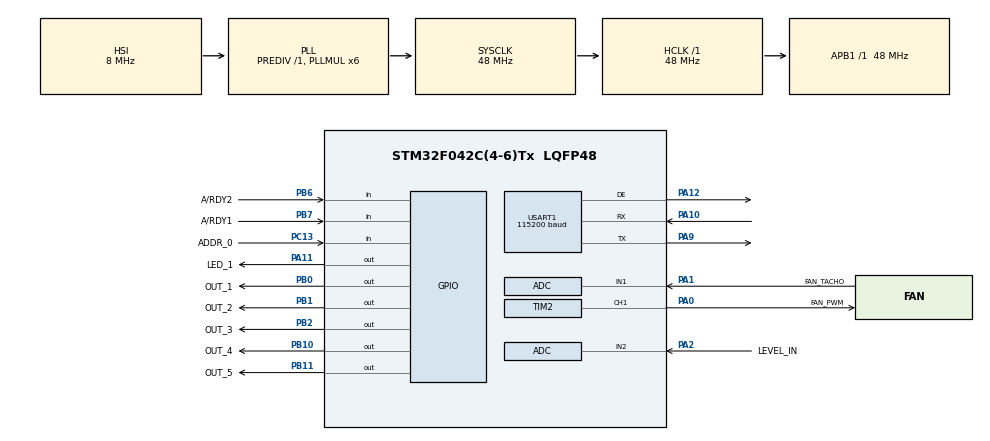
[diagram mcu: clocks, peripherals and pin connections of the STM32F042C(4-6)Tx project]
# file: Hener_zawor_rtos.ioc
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Mcu.Family=STM32F0
Mcu.Name=STM32F042C(4-6)Tx
Mcu.Package=LQFP48
NVIC.TIM17_IRQn=true\:0\:0\:false\:false\:true\:false\:true
NVIC.TimeBase=TIM17_IRQn
NVIC.TimeBaseIP=TIM17
NVIC.USART1_IRQn=true\:0\:0\:false\:false\:true\:true\:true
PA0.GPIO_Label=FAN_PWM
PA0.Signal=S_TIM2_CH1_ETR
PA1.GPIO_Label=FAN_TACHO
PA1.Mode=IN1
PA1.Signal=ADC_IN1
PA10.Mode=Asynchronous
PA10.Signal=USART1_RX
PA11.GPIO_Label=LED_1
PA11.Signal=GPIO_Output
PA12.Mode=Hardware Flow Control (RS485)
PA12.Signal=USART1_DE
PA13.Mode=Serial_Wire
PA13.Signal=SYS_SWDIO
PA14.Mode=Serial_Wire
PA14.Signal=SYS_SWCLK
PA2.GPIO_Label=LEVEL_IN
PA2.Mode=IN2
PA2.Signal=ADC_IN2
PA9.Mode=Asynchronous
PA9.Signal=USART1_TX
PB0.GPIO_Label=OUT_1
PB0.GPIO_PuPd=GPIO_PULLDOWN
PB0.Signal=GPIO_Output
PB1.GPIO_Label=OUT_2
PB1.GPIO_PuPd=GPIO_PULLDOWN
PB1.Signal=GPIO_Output
PB10.GPIO_Label=OUT_4
PB10.GPIO_PuPd=GPIO_PULLDOWN
PB10.Signal=GPIO_Output
PB11.GPIO_Label=OUT_5
PB11.GPIO_PuPd=GPIO_PULLDOWN
PB11.Signal=GPIO_Output
PB2.GPIO_Label=OUT_3
PB2.GPIO_PuPd=GPIO_PULLDOWN
PB2.Signal=GPIO_Output
PB6.GPIO_Label=A/RDY2
PB6.Signal=GPIO_Input
PB7.GPIO_Label=A/RDY1
PB7.Signal=GPIO_Input
PC13.GPIO_Label=ADDR_0
PC13.GPIO_PuPd=GPIO_PULLDOWN
PC13.Signal=GPIO_Input
PC13.Stacked=true
PC14OSC32_IN.GPIO_Label=ADDR_1
PC14OSC32_IN.GPIO_PuPd=GPIO_PULLDOWN
PC14OSC32_IN.Signal=GPIO_Input
PC15OSC32_OUT.GPIO_Label=ADDR_2
PC15OSC32_OUT.GPIO_PuPd=GPIO_PULLDOWN
PC15OSC32_OUT.Signal=GPIO_Input
ProjectManager.HeapSize=0x200
ProjectManager.StackSize=0x400
ProjectManager.TargetToolchain=STM32CubeIDE
RCC.AHBFreq_Value=48000000
RCC.APB1Freq_Value=48000000
RCC.APB1TimFreq_Value=48000000
RCC.HCLKFreq_Value=48000000
RCC.PLLMUL=RCC_PLL_MUL6
RCC.SYSCLKFreq_VALUE=48000000
RCC.SYSCLKSource=RCC_SYSCLKSOURCE_PLLCLK
SH.S_TIM2_CH1_ETR.0=TIM2_CH1,PWM Generation1 CH1
TIM2.Channel-PWM\ Generation1\ CH1=TIM_CHANNEL_1
USART1.BaudRate=115200
USART1.UART_DEAssertionTime=1
USART1.UART_DEDeassertionTime=1
USART1.VirtualMode-Asynchronous=VM_ASYNC
USART1.VirtualMode-Hardware\ Flow\ Control\ (RS485)=VM_ASYNC
VP_SYS_VS_tim17.Mode=TIM17
VP_TIM2_VS_ClockSourceINT.Mode=Internal
board=custom

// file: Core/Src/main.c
/* USER CODE BEGIN Header */
/**
  ******************************************************************************
  * @file           : main.c
  * @brief          : Main program body
  ******************************************************************************
  * @attention
  *
  * <h2><center>&copy; Copyright (c) 2020 STMicroelectronics.
  * All rights reserved.</center></h2>
  *
  * This software component is licensed by ST under BSD 3-Clause license,
  * the "License"; You may not use this file except in compliance with the
  * License. You may obtain a copy of the License at:
  *                        opensource.org/licenses/BSD-3-Clause
  *
  ******************************************************************************
  */
/* USER CODE END Header */
#include "main.h"
#include "adc.h"
#include "tim.h"
#include "usart.h"
#include "gpio.h"

/* USER CODE BEGIN Includes */
#include <string.h>

/* USER CODE END Includes */

/* USER CODE BEGIN PTD */

/* USER CODE BEGIN PV */

/* USER CODE END PTD */

/* USER CODE BEGIN PV */

/* USER CODE END PTD */

/* Private define ------------------------------------------------------------*/
/* USER CODE BEGIN PD */
/* USER CODE END PD */

/* Private macro -------------------------------------------------------------*/
/* USER CODE BEGIN PM */

/* USER CODE END PM */

/* Private variables ---------------------------------------------------------*/

/* USER CODE BEGIN PV */

/* USER CODE END PTD */

/* Private define ------------------------------------------------------------*/
/* USER CODE BEGIN PD */
/* USER CODE END PD */

/* Private macro -------------------------------------------------------------*/
/* USER CODE BEGIN PM */

/* USER CODE END PM */

/* Private variables ---------------------------------------------------------*/

/* USER CODE BEGIN PV */

/* USER CODE END PTD */

/* Private define ------------------------------------------------------------*/
/* USER CODE BEGIN PD */
/* USER CODE END PD */

/* Private macro -------------------------------------------------------------*/
/* USER CODE BEGIN PM */

/* USER CODE END PM */

/* Private variables ---------------------------------------------------------*/

/* USER CODE BEGIN PV */

/* USER CODE END PTD */

/* Private define ------------------------------------------------------------*/
/* USER CODE BEGIN PD */
/* USER CODE END PD */

/* Private macro -------------------------------------------------------------*/
/* USER CODE BEGIN PM */

/* USER CODE END PM */

/* Private variables ---------------------------------------------------------*/

/* USER CODE BEGIN PV */

/* USER CODE END PTD */

/* Private define ------------------------------------------------------------*/
/* USER CODE BEGIN PD */
/* USER CODE END PD */

/* Private macro -------------------------------------------------------------*/
/* USER CODE BEGIN PM */

/* USER CODE END PM */

/* Private variables ---------------------------------------------------------*/

/* USER CODE BEGIN PV */

/* USER CODE END PTD */

/* Private define ------------------------------------------------------------*/
/* USER CODE BEGIN PD */
/* USER CODE END PD */

/* Private macro -------------------------------------------------------------*/
/* USER CODE BEGIN PM */

/* USER CODE END PM */

/* Private variables ---------------------------------------------------------*/

/* USER CODE BEGIN PV */

/* USER CODE END PTD */

/* Private define ------------------------------------------------------------*/
/* USER CODE BEGIN PD */
/* USER CODE END PD */

/* Private macro -------------------------------------------------------------*/
/* USER CODE BEGIN PM */

/* USER CODE END PM */

/* Private variables ---------------------------------------------------------*/

/* USER CODE BEGIN PV */

/* USER CODE END PTD */

/* Private define ------------------------------------------------------------*/
/* USER CODE BEGIN PD */
/* USER CODE END PD */

/* Private macro -------------------------------------------------------------*/
/* USER CODE BEGIN PM */

/* USER CODE END PM */

/* Private variables ---------------------------------------------------------*/

/* USER CODE BEGIN PV */

/* USER CODE END PTD */

/* Private define ------------------------------------------------------------*/
/* USER CODE BEGIN PD */
/* USER CODE END PD */

/* Private macro -------------------------------------------------------------*/
/* USER CODE BEGIN PM */

/* USER CODE END PM */

/* Private variables ---------------------------------------------------------*/

/* USER CODE BEGIN PV */

/* USER CODE END PTD */

/* Private define ------------------------------------------------------------*/
/* USER CODE BEGIN PD */
/* USER CODE END PD */

/* Private macro -------------------------------------------------------------*/
/* USER CODE BEGIN PM */

/* USER CODE END PM */

/* Private variables ---------------------------------------------------------*/

/* USER CODE BEGIN PV */

/* USER CODE END PTD */

/* Private define ------------------------------------------------------------*/
/* USER CODE BEGIN PD */
/* USER CODE END PD */

/* Private macro -------------------------------------------------------------*/
/* USER CODE BEGIN PM */

/* USER CODE END PM */

/* Private variables ---------------------------------------------------------*/

/* USER CODE BEGIN PV */

/* USER CODE END PTD */

/* Private define ------------------------------------------------------------*/
/* USER CODE BEGIN PD */
/* USER CODE END PD */

/* Private macro -------------------------------------------------------------*/
/* USER CODE BEGIN PM */

/* USER CODE END PM */

/* Private variables ---------------------------------------------------------*/

/* USER CODE BEGIN PV */

/* USER CODE END PTD */

/* Private define ------------------------------------------------------------*/
/* USER CODE BEGIN PD */
/* USER CODE END PD */

/* Private macro -------------------------------------------------------------*/
/* USER CODE BEGIN PM */

/* USER CODE END PM */

/* Private variables ---------------------------------------------------------*/

/* USER CODE BEGIN PV */

/* USER CODE END PTD */

/* Private define ------------------------------------------------------------*/
/* USER CODE BEGIN PD */
/* USER CODE END PD */

/* Private macro -------------------------------------------------------------*/
/* USER CODE BEGIN PM */

/* USER CODE END PM */

/* Private variables ---------------------------------------------------------*/

/* USER CODE BEGIN PV */

/* USER CODE END PTD */

/* Private define ------------------------------------------------------------*/
/* USER CODE BEGIN PD */
/* USER CODE END PD */

/* Private macro -------------------------------------------------------------*/
/* USER CODE BEGIN PM */

/* USER CODE END PM */

/* Private variables ---------------------------------------------------------*/

/* USER CODE BEGIN PV */

/* USER CODE END PTD */

/* Private define ------------------------------------------------------------*/
/* USER CODE BEGIN PD */
/* USER CODE END PD */

/* Private macro -------------------------------------------------------------*/
/* USER CODE BEGIN PM */

/* USER CODE END PM */

/* Private variables ---------------------------------------------------------*/

/* USER CODE BEGIN PV */

/* USER CODE END PTD */

/* Private define ------------------------------------------------------------*/
/* USER CODE BEGIN PD */
/* USER CODE END PD */

/* Private macro -------------------------------------------------------------*/
/* USER CODE BEGIN PM */

/* USER CODE END PM */

/* Private variables ---------------------------------------------------------*/

/* USER CODE BEGIN PV */

/* USER CODE END PTD */

/* Private define ------------------------------------------------------------*/
/* USER CODE BEGIN PD */
/* USER CODE END PD */

/* Private macro -------------------------------------------------------------*/
/* USER CODE BEGIN PM */

/* USER CODE END PM */

/* Private variables ---------------------------------------------------------*/

/* USER CODE BEGIN PV */

/* USER CODE END PTD */

/* Private define ------------------------------------------------------------*/
/* USER CODE BEGIN PD */
/* USER CODE END PD */

/* Private macro -------------------------------------------------------------*/
/* USER CODE BEGIN PM */

/* USER CODE END PM */

/* Private variables ---------------------------------------------------------*/

/* USER CODE BEGIN PV */

/* USER CODE END PTD */

/* Private define ------------------------------------------------------------*/
/* USER CODE BEGIN PD */
/* USER CODE END PD */

/* Private macro -------------------------------------------------------------*/
/* USER CODE BEGIN PM */

/* USER CODE END PM */

/* Private variables ---------------------------------------------------------*/

/* USER CODE BEGIN PV */

/* USER CODE END PTD */

/* Private define ------------------------------------------------------------*/
/* USER CODE BEGIN PD */
/* USER CODE END PD */

/* Private macro -------------------------------------------------------------*/
/* USER CODE BEGIN PM */

/* USER CODE END PM */

/* Private variables ---------------------------------------------------------*/

/* USER CODE BEGIN PV */

/* USER CODE END PTD */

/* Private define ------------------------------------------------------------*/
/* USER CODE BEGIN PD */
/* USER CODE END PD */

/* Private macro -------------------------------------------------------------*/
/* USER CODE BEGIN PM */

/* USER CODE END PM */

/* Private variables ---------------------------------------------------------*/

/* USER CODE BEGIN PV */

/* USER CODE END PTD */

/* Private define ------------------------------------------------------------*/
/* USER CODE BEGIN PD */
/* USER CODE END PD */

/* Private macro -------------------------------------------------------------*/
/* USER CODE BEGIN PM */

/* USER CODE END PM */

/* Private variables ---------------------------------------------------------*/

/* USER CODE BEGIN PV */
uint8_t Received[10];

/* USER CODE END PTD */

/* Private define ------------------------------------------------------------*/
/* USER CODE BEGIN PD */
/* USER CODE END PD */

/* Private macro -------------------------------------------------------------*/
/* USER CODE BEGIN PM */

/* USER CODE END PM */

/* Private variables ---------------------------------------------------------*/

/* USER CODE BEGIN PV */

/* USER CODE END PTD */

/* Private define ------------------------------------------------------------*/
/* USER CODE BEGIN PD */
/* USER CODE END PD */

/* Private macro -------------------------------------------------------------*/
/* USER CODE BEGIN PM */

/* USER CODE END PM */

/* Private variables ---------------------------------------------------------*/

/* USER CODE BEGIN PV */

/* USER CODE END PV */

void SystemClock_Config(void);

/* USER CODE BEGIN 0 */
void send_string(char* s)
{
	extern UART_HandleTypeDef huart1;
	HAL_UART_Transmit(&huart1, (uint8_t*)s, strlen(s), 1000);
}

void HAL_UART_RxCpltCallback(UART_HandleTypeDef *huart)
{
 switch(Received[0])
 {
 case 'a':
	 	 GPIOB->ODR^=(1<<0);
	 	 send_string("Valve 1 changed\n\r");
	 	 break;
 case 'b':
	 	 GPIOB->ODR^=(1<<1);
	 	 send_string("Valve 2 changed\n\r");
	 	 break;
 case 'c':
	 	 GPIOB->ODR^=(1<<2);
	 	 send_string("Valve 3 changed\n\r");
	 	 break;
 case 'd':
	 	 GPIOB->ODR^=(1<<10);
	 	 send_string("Valve 4 changed\n\r");
	 	 break;
 case 'e':
	 	 GPIOB->ODR^=(1<<11);
	 	 send_string("Valve 5 changed\n\r");
	 	 break;

 default:
	 	 break;

 }
 HAL_UART_Receive_IT(&huart1, Received, 1);

}

/* USER CODE END 0 */

int main(void)
{

  /* MCU Configuration--------------------------------------------------------*/

  /* Reset of all peripherals, Initializes the Flash interface and the Systick. */
  HAL_Init();

  /* Configure the system clock */
  SystemClock_Config();

  /* Initialize all configured peripherals */
  MX_GPIO_Init();
  MX_TIM2_Init();
  MX_USART1_UART_Init();
  MX_ADC_Init();
  /* USER CODE BEGIN 2 */

  HAL_UART_Receive_IT(&huart1, Received, 1);
  /* USER CODE END 2 */

  /* Infinite loop */
  while (1)
  {

    /* USER CODE BEGIN 3 */
	  //send_string("Dupsko\n\r");
	  //GPIOB->ODR^=(1<<1);
	  //HAL_Delay(1000);
  }
  /* USER CODE END 3 */
}

void SystemClock_Config(void)
{
  RCC_OscInitTypeDef RCC_OscInitStruct = {0};
  RCC_ClkInitTypeDef RCC_ClkInitStruct = {0};
  RCC_PeriphCLKInitTypeDef PeriphClkInit = {0};

  /** Initializes the RCC Oscillators according to the specified parameters
  * in the RCC_OscInitTypeDef structure.
  */
  RCC_OscInitStruct.OscillatorType = RCC_OSCILLATORTYPE_HSI|RCC_OSCILLATORTYPE_HSI14;
  RCC_OscInitStruct.HSIState = RCC_HSI_ON;
  RCC_OscInitStruct.HSI14State = RCC_HSI14_ON;
  RCC_OscInitStruct.HSICalibrationValue = RCC_HSICALIBRATION_DEFAULT;
  RCC_OscInitStruct.HSI14CalibrationValue = 16;
  RCC_OscInitStruct.PLL.PLLState = RCC_PLL_ON;
  RCC_OscInitStruct.PLL.PLLSource = RCC_PLLSOURCE_HSI;
  RCC_OscInitStruct.PLL.PLLMUL = RCC_PLL_MUL6;
  RCC_OscInitStruct.PLL.PREDIV = RCC_PREDIV_DIV1;
  if (HAL_RCC_OscConfig(&RCC_OscInitStruct) != HAL_OK)
  {
    Error_Handler();
  }
  /** Initializes the CPU, AHB and APB buses clocks
  */
  RCC_ClkInitStruct.ClockType = RCC_CLOCKTYPE_HCLK|RCC_CLOCKTYPE_SYSCLK
                              |RCC_CLOCKTYPE_PCLK1;
  RCC_ClkInitStruct.SYSCLKSource = RCC_SYSCLKSOURCE_PLLCLK;
  RCC_ClkInitStruct.AHBCLKDivider = RCC_SYSCLK_DIV1;
  RCC_ClkInitStruct.APB1CLKDivider = RCC_HCLK_DIV1;

  if (HAL_RCC_ClockConfig(&RCC_ClkInitStruct, FLASH_LATENCY_1) != HAL_OK)
  {
    Error_Handler();
  }
  PeriphClkInit.PeriphClockSelection = RCC_PERIPHCLK_USART1;
  PeriphClkInit.Usart1ClockSelection = RCC_USART1CLKSOURCE_PCLK1;
  if (HAL_RCCEx_PeriphCLKConfig(&PeriphClkInit) != HAL_OK)
  {
    Error_Handler();
  }
}

 /**
  * @brief  Period elapsed callback in non blocking mode
  * @note   This function is called  when TIM17 interrupt took place, inside
  * HAL_TIM_IRQHandler(). It makes a direct call to HAL_IncTick() to increment
  * a global variable "uwTick" used as application time base.
  * @param  htim : TIM handle
  * @retval None
  */
void HAL_TIM_PeriodElapsedCallback(TIM_HandleTypeDef *htim)
{
  if (htim->Instance == TIM17) {
    HAL_IncTick();
  }
}

void Error_Handler(void)
{
}

/************************ (C) COPYRIGHT STMicroelectronics *****END OF FILE****/
